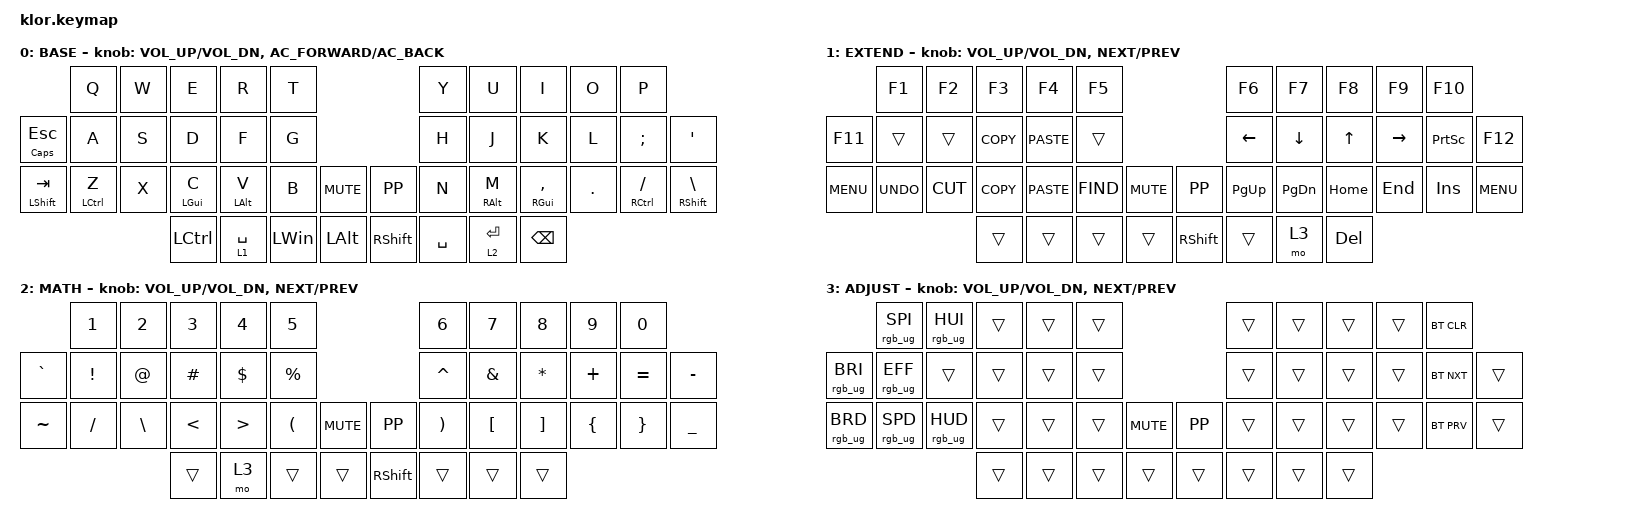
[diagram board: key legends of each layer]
//                               █         █    █            ▄▄▄▀▀▀▀▀▀▄▄▄        █▀▀▀▀▀▀▀▀▀▀█
//                               █        █     █          ▄▀            ▀▄      █          █
//                               █       █      █        ▄▀                ▀▄    █          █
//                               █      █       █        █                  █    █          █
//                               █     █        █       █                    █   █          █
//                               █    █         █       █                    █   █▄▄▄▄▄▄▄▄▄▄█
//                               █   █ █        █       █                    █   █      █
//                               █  █   █       █        █                  █    █       █
//                               █ █     █      █        ▀▄                ▄▀    █        █
//                               ██       █     █          ▀▄            ▄▀      █         █
//                               █         █    █▄▄▄▄▄▄▄▄    ▀▀▀▄▄▄▄▄▄▀▀▀        █          █
//
// ▄▄▄▄▄▄▄▄▄▄▄▄▄▄▄▄▄▄▄▄▄▄▄▄▄▄▄▄▄▄▄▄▄▄▄▄▄▄▄▄▄▄▄▄▄▄▄▄▄▄▄▄▄▄▄▄▄▄▄▄▄▄▄▄▄▄▄▄▄▄▄▄▄▄▄▄▄▄▄▄▄▄▄▄▄▄▄▄▄▄▄▄▄▄▄▄▄▄▄▄▄▄▄▄▄▄▄▄▄▄▄▄▄▄▄▄▄▄▄▄▄▄▄▄▄

#include <behaviors.dtsi>
#include <dt-bindings/zmk/bt.h>
#include <dt-bindings/zmk/keys.h>
#include <dt-bindings/zmk/rgb.h>

#define BASE   0
#define RAISE  1
#define LOWER  2
#define ADJUST 3

&led_strip { chain-length = <21>; };

&sensors {
    left_encoder { triggers-per-rotation = <15>; };

    right_encoder { triggers-per-rotation = <15>; };
};

/ {
    behaviors {
        hm: homerow_mods {
            compatible = "zmk,behavior-hold-tap";
            label = "HOMEROW_MODS";
            #binding-cells = <2>;
            tapping-term-ms = <200>;
            quick_tap_ms = <0>;
            flavor = "tap-preferred";
            bindings = <&kp>, <&kp>;
        };
    };

    combos {
        compatible = "zmk,combos";

        combo_esc {
            timeout-ms = <50>;
            key-positions = <0 1>;
            bindings = <&kp ESC>;
        };

        combo_closetab {
            timeout-ms = <50>;
            key-positions = <1 2>;
            bindings = <&macro_closetab>;
        };

        combo_lasttab {
            timeout-ms = <50>;
            key-positions = <2 3>;
            bindings = <&macro_lasttab>;
        };

        combo_prtscr {
            timeout-ms = <50>;
            key-positions = <3 4>;
            bindings = <&kp PSCRN>;
        };

        combo_terminal {
            timeout-ms = <50>;
            key-positions = <1 3>;
            bindings = <&macro_terminal>;
        };

        combo_return {
            bindings = <&kp RETURN>;
            key-positions = <17 18>;
        };
    };

    macros {
        macro_closetab: macro_closetab {
            compatible = "zmk,behavior-macro";
            #binding-cells = <0>;
            bindings =
                <&macro_press>,
                <&kp LCTRL>,
                <&macro_tap>,
                <&kp F4>,
                <&macro_release>,
                <&kp LCTRL>;
        };

        macro_lasttab: macro_lasttab {
            compatible = "zmk,behavior-macro";
            #binding-cells = <0>;
            bindings =
                <&macro_press>,
                <&kp LCTRL>,
                <&macro_tap>,
                <&kp LS(T)>,
                <&macro_release>,
                <&kp LCTRL>;
        };

        macro_terminal: macro_terminal {
            compatible = "zmk,behavior-macro";
            #binding-cells = <0>;
            bindings =
                <&macro_press>,
                <&kp LCTRL>,
                <&macro_tap>,
                <&kp LA(T)>,
                <&macro_release>,
                <&kp LCTRL>;
        };
    };

    keymap {
        compatible = "zmk,keymap";

        // ▄▄▄▄▄▄▄▄▄▄▄▄▄▄▄▄▄▄▄▄▄▄▄▄▄▄▄▄▄▄▄▄▄▄▄▄▄▄▄▄▄▄▄▄▄▄▄▄▄▄▄▄▄▄▄▄▄▄▄▄▄▄▄▄▄▄▄▄▄▄▄▄▄▄▄▄▄▄▄▄▄▄▄▄▄▄▄▄▄▄▄▄▄▄▄▄▄▄▄▄▄▄▄▄▄▄▄▄▄▄▄▄▄▄▄▄▄▄▄▄▄▄▄▄▄▄▄▄▄▄▄▄▄▄▄▄▄▄▄▄▄▄

        base_layer {
            // ┌───────────────────────────────────────────────────────────┐

            label = "BASE";

            // └───────────────────────────────────────────────────────────┘
            /*           ┌─────────┬─────────┬─────────┬─────────┬─────────┐                    ┌─────────┬─────────┬─────────┬─────────┬─────────┐
             │    Q    │    W    │    E    │    R    │    T    │                    │    Y    │    U    │    I    │    O    │    P    │   
   ┌─────────┼─────────┼─────────┼─────────┼─────────┼─────────┤                    ├─────────┼─────────┼─────────┼─────────┼─────────┼─────────┐
   │   TAB   │    A    │    S    │    D    │    F    │    G    │                    │    H    │    J    │    K    │    L    │    ;    │    '    │
   ├─────────┼─────────┼─────────┼─────────┼─────────┼─────────┤╭────────╮╭────────╮├─────────┼─────────┼─────────┼─────────┼─────────┼─────────┤
   │   CTRL  │    Z    │    X    │    C    │    V    │    B    ││  MUTE  ││PLY/PSE ││    N    │    M    │    ,    │    .    │    /    │    \    │
   └─────────┴─────────┴─────────┼─────────┼─────────┼─────────┼╰────────╯╰────────╯┼─────────┼─────────┼─────────┼─────────┴─────────┴─────────┘
                                 │  LALT   │  LOWER  │  RALT   │  SPACE  ││  BSPCE  │  ENTER  │  RAISE  │    DEL  │  
                                 └─────────┴─────────┴─────────┴─────────┘└─────────┴─────────┴─────────┴─────────┘ */

            bindings = <
                 &kp Q        &kp W  &kp E       &kp R           &kp T                                &kp Y      &kp U            &kp I           &kp O    &kp P
&hm CAPS ESCAPE  &kp A        &kp S  &kp D       &kp F           &kp G                                &kp H      &kp J            &kp K           &kp L    &kp SEMI         &kp SQT
&hm LSHFT TAB    &hm LCTRL Z  &kp X  &hm LGUI C  &hm LEFT_ALT V  &kp B         &kp C_MUTE  &kp K_PP   &kp N      &hm RIGHT_ALT M  &hm RGUI COMMA  &kp DOT  &hm RCTRL SLASH  &hm RIGHT_SHIFT BSLH
                                     &kp LCTRL   &lt 1 SPACE     &kp LEFT_WIN  &kp LALT    &kp RSHFT  &kp SPACE  &lt 2 ENTER      &kp BACKSPACE
            >;

            sensor-bindings = <&inc_dec_kp C_VOL_UP C_VOL_DN &inc_dec_kp C_AC_FORWARD C_AC_BACK>;
        };

        // ▄▄▄▄▄▄▄▄▄▄▄▄▄▄▄▄▄▄▄▄▄▄▄▄▄▄▄▄▄▄▄▄▄▄▄▄▄▄▄▄▄▄▄▄▄▄▄▄▄▄▄▄▄▄▄▄▄▄▄▄▄▄▄▄▄▄▄▄▄▄▄▄▄▄▄▄▄▄▄▄▄▄▄▄▄▄▄▄▄▄▄▄▄▄▄▄▄▄▄▄▄▄▄▄▄▄▄▄▄▄▄▄▄▄▄▄▄▄▄▄▄▄▄▄▄▄▄▄▄▄▄▄▄▄▄▄▄▄▄▄▄▄

        extend_layer {
            // ┌───────────────────────────────────────────────────────────┐

            label = "EXTEND";

            // └───────────────────────────────────────────────────────────┘
            /*           ┌─────────┬─────────┬─────────┬─────────┬─────────┐                    ┌─────────┬─────────┬─────────┬─────────┬─────────┐
             │ RGB_SPI │ RGB_HUI │         │         │    {    │                    │    }    │   LEFT  │   UP    │  RIGHT  │   HOME  │
   ┌─────────┼─────────┼─────────┼─────────┼─────────┼─────────┤                    ├─────────┼─────────┼─────────┼─────────┼─────────┼─────────┐
   │ RGB_BRI │ RGB_EFF │         │         │         │    [    │                    │    ]    │         │  DOWN   │         │  PSCRN  │  P UP   │
   ├─────────┼─────────┼─────────┼─────────┼─────────┼─────────┤╭────────╮╭────────╮├─────────┼─────────┼─────────┼─────────┼─────────┼─────────┤
   │ RGB_BRD │ RGB_SPD │ RGB_HUD │         │         │    (    ││  MUTE  ││PLY/PASE││    )    │         │         │         │   END   │ P DOWN  │
   └─────────┴─────────┴─────────┼─────────┼─────────┼─────────┼╰────────╯╰────────╯┼─────────┼─────────┼─────────┼─────────┴─────────┴─────────┘
                                 │         │         │         │  LSHIFT ││  RSHIFT │         │         │  ADJUST │  
                                 └─────────┴─────────┴─────────┴─────────┘└─────────┴─────────┴─────────┴─────────┘ */

            bindings = <
            &kp F1      &kp F2     &kp F3      &kp F4       &kp F5                             &kp F6          &kp F7          &kp F8        &kp F9           &kp F10
&kp F11     &trans      &trans     &kp K_COPY  &kp K_PASTE  &trans                             &kp LEFT_ARROW  &kp DOWN_ARROW  &kp UP_ARROW  &kp RIGHT_ARROW  &kp PSCRN  &kp F12
&kp C_MENU  &kp K_UNDO  &kp K_CUT  &kp K_COPY  &kp K_PASTE  &kp K_FIND  &kp C_MUTE  &kp K_PP   &kp PAGE_UP     &kp PAGE_DOWN   &kp HOME      &kp END          &kp INS    &kp K_MENU
                                   &trans      &trans       &trans      &trans      &kp RSHFT  &trans          &mo 3           &kp DELETE
            >;

            sensor-bindings = <&inc_dec_kp C_VOL_UP C_VOL_DN &inc_dec_kp C_NEXT C_PREV>;
        };

        // ▄▄▄▄▄▄▄▄▄▄▄▄▄▄▄▄▄▄▄▄▄▄▄▄▄▄▄▄▄▄▄▄▄▄▄▄▄▄▄▄▄▄▄▄▄▄▄▄▄▄▄▄▄▄▄▄▄▄▄▄▄▄▄▄▄▄▄▄▄▄▄▄▄▄▄▄▄▄▄▄▄▄▄▄▄▄▄▄▄▄▄▄▄▄▄▄▄▄▄▄▄▄▄▄▄▄▄▄▄▄▄▄▄▄▄▄▄▄▄▄▄▄▄▄▄

        math_layer {
            // ┌───────────────────────────────────────────────────────────┐

            label = "MATH";

            // └───────────────────────────────────────────────────────────┘
            /*           ┌─────────┬─────────┬─────────┬─────────┬─────────┐                    ┌─────────┬─────────┬─────────┬─────────┬─────────┐
             │   F1    │   F2    │   F3    │   F4    │   F5    │                    │   F6    │   F7    │   F8    │   F9    │   F10   │
   ┌─────────┼─────────┼─────────┼─────────┼─────────┼─────────┤                    ├─────────┼─────────┼─────────┼─────────┼─────────┼─────────┐
   │    -    │    !    │    @    │    #    │    $    │    %    │                    │    ^    │    &    │    `    │    ~    │    =    │    +    │
   ├─────────┼─────────┼─────────┼─────────┼─────────┼─────────┤╭────────╮╭────────╮├─────────┼─────────┼─────────┼─────────┼─────────┼─────────┤
   │    _    │    1    │    2    │    3    │    4    │    5    ││  MUTE  ││PLY/PASE││    6    │    7    │    8    │    9    │    0    │    *    │
   └─────────┴─────────┴─────────┼─────────┼─────────┼─────────┼╰────────╯╰────────╯┼─────────┼─────────┼─────────┼─────────┴─────────┴─────────┘
                                 │         │         │         │  LSHIFT ││  RSHIFT │         │         │         │  
                                 └─────────┴─────────┴─────────┴─────────┘└─────────┴─────────┴─────────┴─────────┘ */

            bindings = <
           &kp N1     &kp N2         &kp N3         &kp N4            &kp N5                                       &kp N6                 &kp N7            &kp N8             &kp N9          &kp N0
&kp GRAVE  &kp EXCL   &kp AT         &kp POUND      &kp DLLR          &kp PRCNT                                    &kp CARET              &kp AMPS          &kp ASTERISK       &kp PLUS        &kp EQUAL        &kp MINUS
&kp TILDE  &kp SLASH  &kp BACKSLASH  &kp LESS_THAN  &kp GREATER_THAN  &kp LEFT_PARENTHESIS  &kp C_MUTE  &kp K_PP   &kp RIGHT_PARENTHESIS  &kp LEFT_BRACKET  &kp RIGHT_BRACKET  &kp LEFT_BRACE  &kp RIGHT_BRACE  &kp UNDERSCORE
                                     &trans         &mo 3             &trans                &trans      &kp RSHFT  &trans                 &trans            &trans
            >;

            sensor-bindings = <&inc_dec_kp C_VOL_UP C_VOL_DN &inc_dec_kp C_NEXT C_PREV>;
        };

        // ▄▄▄▄▄▄▄▄▄▄▄▄▄▄▄▄▄▄▄▄▄▄▄▄▄▄▄▄▄▄▄▄▄▄▄▄▄▄▄▄▄▄▄▄▄▄▄▄▄▄▄▄▄▄▄▄▄▄▄▄▄▄▄▄▄▄▄▄▄▄▄▄▄▄▄▄▄▄▄▄▄▄▄▄▄▄▄▄▄▄▄▄▄▄▄▄▄▄▄▄▄▄▄▄▄▄▄▄▄▄▄▄▄▄▄▄▄▄▄▄▄▄▄▄▄

        adjust_layer {
            // ┌───────────────────────────────────────────────────────────┐

            label = "ADJUST";

            // └───────────────────────────────────────────────────────────┘
            /*           ┌─────────┬─────────┬─────────┬─────────┬─────────┐                    ┌─────────┬─────────┬─────────┬─────────┬─────────┐
             │ BT_CLR  │         │         │         │         │                    │         │         │         │         │ BT_CLR  │
   ┌─────────┼─────────┼─────────┼─────────┼─────────┼─────────┤                    ├─────────┼─────────┼─────────┼─────────┼─────────┼─────────┐
   │         │ BT_NXT  │         │         │         │         │                    │         │         │         │         │ BT_NXT  │         │
   ├─────────┼─────────┼─────────┼─────────┼─────────┼─────────┤╭────────╮╭────────╮├─────────┼─────────┼─────────┼─────────┼─────────┼─────────┤
   │         │ BT_PRV  │         │         │         │         ││  MUTE  ││PLY/PASE││         │         │         │         │ BT_PRV  │         │
   └─────────┴─────────┴─────────┼─────────┼─────────┼─────────┼╰────────╯╰────────╯┼─────────┼─────────┼─────────┼─────────┴─────────┴─────────┘
                                 │         │         │         │         ││         │         │         │         │  
                                 └─────────┴─────────┴─────────┴─────────┘└─────────┴─────────┴─────────┴─────────┘ */

            bindings = <
                 &rgb_ug RGB_SPI  &rgb_ug RGB_HUI  &trans  &trans  &trans                        &trans  &trans  &trans  &trans  &bt BT_CLR
&rgb_ug RGB_BRI  &rgb_ug RGB_EFF  &trans           &trans  &trans  &trans                        &trans  &trans  &trans  &trans  &bt BT_NXT  &trans
&rgb_ug RGB_BRD  &rgb_ug RGB_SPD  &rgb_ug RGB_HUD  &trans  &trans  &trans  &kp C_MUTE  &kp K_PP  &trans  &trans  &trans  &trans  &bt BT_PRV  &trans
                                                   &trans  &trans  &trans  &trans      &trans    &trans  &trans  &trans
            >;

            sensor-bindings = <&inc_dec_kp C_VOL_UP C_VOL_DN &inc_dec_kp C_NEXT C_PREV>;
        };
    };
};
